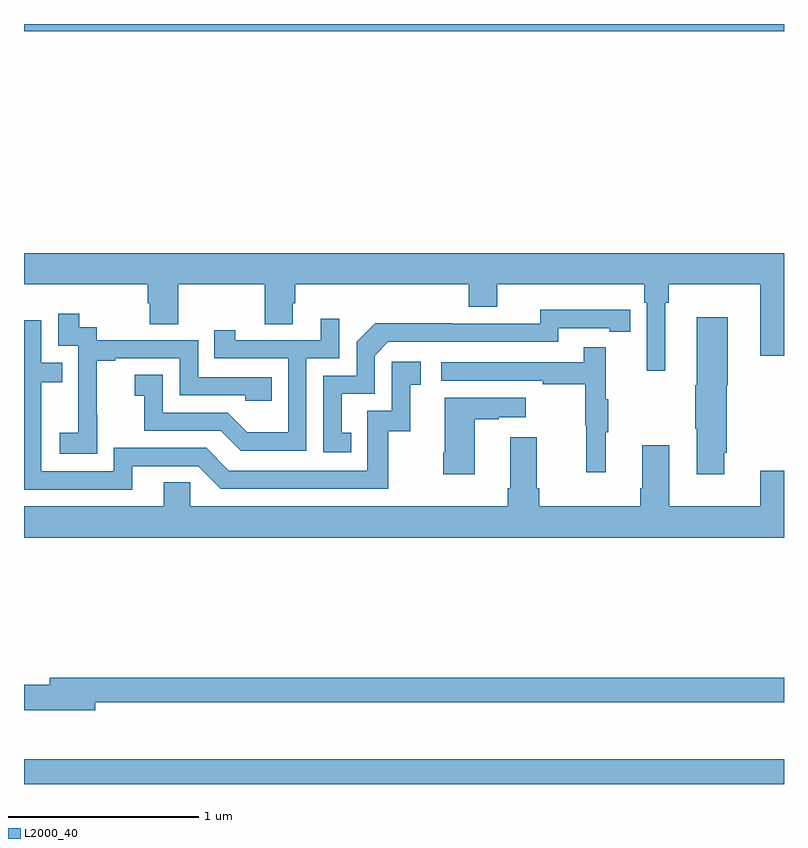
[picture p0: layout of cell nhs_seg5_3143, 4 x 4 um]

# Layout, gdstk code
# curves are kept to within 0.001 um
import gdstk
lib = gdstk.Library(unit=1e-6, precision=1e-09)
def R(c, l, rs):  # rectangles x0, y0, x1, y1
    for r in rs: c.add(gdstk.rectangle(r[:2], r[2:], *l))
def P(c, l, *ps):  # polygons
    for p in ps: c.add(gdstk.Polygon(p, *l))
L2000_40 = (2000, 40)

nhs_seg5_3143 = lib.new_cell('nhs_seg5_3143')
R(nhs_seg5_3143, L2000_40, [(293,852.799,297,852.928), (293,856.76,297,856.799)])
P(nhs_seg5_3143, L2000_40, [(296.374,855.332),(296.393,855.332),(296.393,855.428),(296.876,855.428),(296.876,855.054),(297,855.054),(297,855.592),(293,855.592),(293,855.428),(293.651,855.428),(293.651,855.33),(293.663,855.33),(293.663,855.22),(293.811,855.22),(293.811,855.428),(294.268,855.428),(294.268,855.22),(294.415,855.22),(294.415,855.33),(294.428,855.33),(294.428,855.428),(295.34,855.428),(295.34,855.311),(295.492,855.311),(295.492,855.428),(296.264,855.428),(296.264,855.332),(296.277,855.332),(296.277,854.973),(296.374,854.973)],
  [(294.722,854.649),(294.673,854.649),(294.673,854.853),(294.846,854.853),(294.846,855.054),(294.918,855.126),(295.812,855.126),(295.812,855.198),(296.084,855.198),(296.084,855.178),(296.192,855.178),(296.192,855.294),(295.716,855.295),(295.716,855.222),(295.256,855.222),(295.256,855.224),(294.848,855.224),(294.75,855.126),(294.75,854.949),(294.576,854.949),(294.576,854.544),(294.722,854.544)],
  [(293.385,854.743),(293.384,854.743),(293.384,855.027),(293.479,855.027),(293.479,855.039),(293.82,855.039),(293.82,854.844),(294.165,854.844),(294.165,854.817),(294.305,854.817),(294.305,854.94),(293.916,854.94),(293.916,855.135),(293.382,855.135),(293.382,855.204),(293.29,855.204),(293.29,855.274),(293.181,855.274),(293.181,855.105),(293.286,855.105),(293.286,854.876),(293.285,854.876),(293.285,854.647),(293.187,854.647),(293.187,854.537),(293.385,854.537)],
  [(296.686,854.542),(296.699,854.542),(296.699,854.898),(296.704,854.898),(296.704,855.256),(296.54,855.256),(296.54,854.898),(296.533,854.898),(296.533,854.668),(296.54,854.668),(296.54,854.43),(296.686,854.43)],
  [(294.486,855.039),(294.66,855.039),(294.66,855.247),(294.563,855.247),(294.563,855.135),(294.112,855.135),(294.112,855.187),(294.001,855.187),(294.001,855.039),(294.39,855.039),(294.39,854.65),(294.176,854.65),(294.072,854.754),(293.73,854.754),(293.73,854.953),(293.583,854.953),(293.583,854.843),(293.632,854.843),(293.632,854.658),(294.035,854.658),(294.14,854.553),(294.486,854.553)],
  [(293.569,854.472),(293.916,854.472),(294.036,854.352),(294.916,854.352),(294.916,854.655),(295.034,854.655),(295.034,854.901),(295.087,854.901),(295.087,855.022),(294.936,855.022),(294.936,854.763),(294.807,854.763),(294.807,854.448),(294.078,854.448),(293.958,854.568),(293.472,854.568),(293.472,854.445),(293.091,854.445),(293.091,854.914),(293.201,854.914),(293.201,855.015),(293.091,855.015),(293.091,855.24),(293,855.24),(293,854.349),(293.569,854.349)],
  [(296.063,854.651),(296.074,854.651),(296.074,854.825),(296.063,854.825),(296.063,855.097),(295.945,855.097),(295.945,855.018),(295.197,855.018),(295.197,854.922),(295.729,854.922),(295.729,854.902),(295.953,854.902),(295.953,854.688),(295.96,854.688),(295.96,854.439),(296.063,854.439)],
  [(295.372,854.719),(295.499,854.719),(295.499,854.729),(295.642,854.729),(295.642,854.833),(295.214,854.833),(295.214,854.542),(295.207,854.542),(295.207,854.43),(295.372,854.43)],
  [(297,854.449),(296.876,854.449),(296.876,854.26),(296.395,854.26),(296.395,854.581),(296.255,854.581),(296.255,854.356),(296.243,854.356),(296.243,854.26),(295.712,854.26),(295.712,854.356),(295.699,854.356),(295.699,854.623),(295.559,854.623),(295.559,854.356),(295.547,854.356),(295.547,854.26),(293.874,854.26),(293.874,854.387),(293.735,854.387),(293.735,854.26),(293,854.26),(293,854.096),(297,854.096)],
  [(293.374,853.23),(297,853.23),(297,853.358),(293.135,853.358),(293.135,853.322),(293,853.322),(293,853.187),(293.374,853.187)])

lib.write_gds('nhs_seg5_3143.gds')
